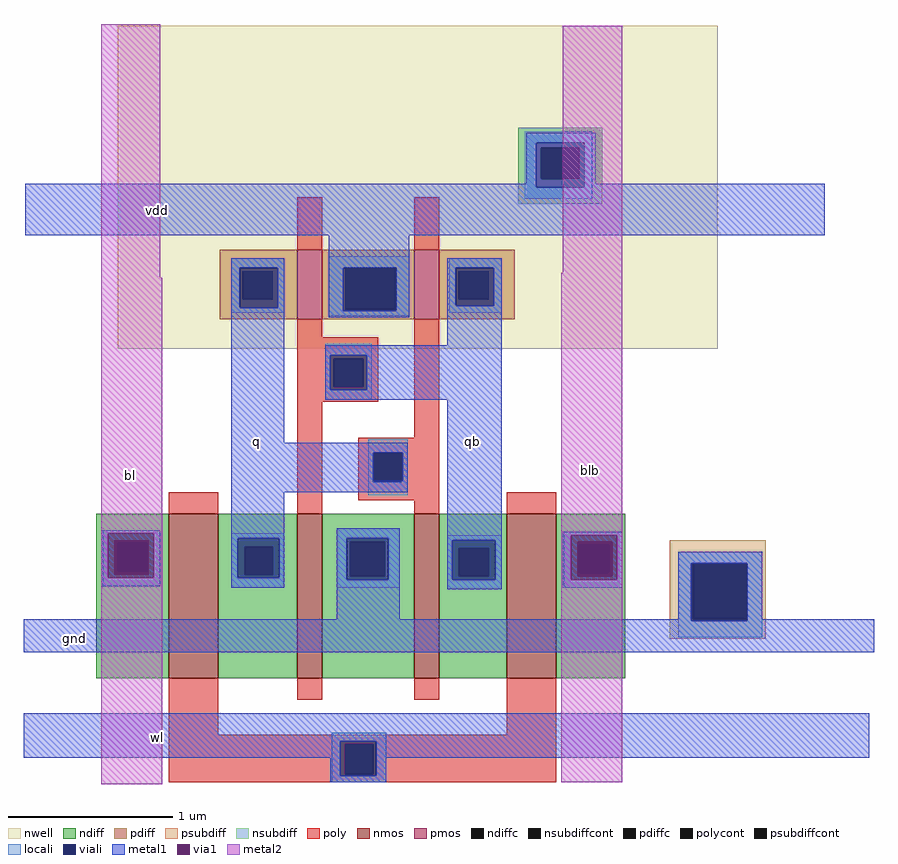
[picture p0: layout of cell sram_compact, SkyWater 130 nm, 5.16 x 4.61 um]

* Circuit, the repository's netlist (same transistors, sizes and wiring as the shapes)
* NGSPICE file created from sram_compact.ext - technology: sky130A

.subckt sram_compact q qb vdd gnd wl bl blb
X0 qb q vdd vdd sky130_fd_pr__pfet_01v8 ad=0.1932 pd=1.76 as=0.1176 ps=0.98 w=0.42 l=0.15
X1 vdd qb q vdd sky130_fd_pr__pfet_01v8 ad=0.1176 pd=0.98 as=0.1974 ps=1.78 w=0.42 l=0.15
X2 q wl bl gnd sky130_fd_pr__nfet_01v8 ad=0.24 pd=1.48 as=0.44 ps=2.88 w=1 l=0.3
X3 qb q gnd gnd sky130_fd_pr__nfet_01v8 ad=0.205 pd=1.41 as=0.28 ps=1.56 w=1 l=0.15
X4 gnd qb q gnd sky130_fd_pr__nfet_01v8 ad=0.28 pd=1.56 as=0.24 ps=1.48 w=1 l=0.15
X5 blb wl qb gnd sky130_fd_pr__nfet_01v8 ad=0.42 pd=2.84 as=0.205 ps=1.41 w=1 l=0.3
.ends

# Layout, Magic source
magic
tech sky130A
<< nwell >>
rect -79 201 285 397
<< nmos >>
rect -48 1 -18 101
rect 30 1 45 101
rect 101 1 116 101
rect 157 1 187 101
<< pmos >>
rect 30 219 45 261
rect 101 219 116 261
<< ndiff >>
rect -92 83 -48 101
rect -92 66 -79 83
rect -61 66 -48 83
rect -92 1 -48 66
rect -18 81 30 101
rect -18 64 -2 81
rect 15 64 30 81
rect -18 1 30 64
rect 45 84 101 101
rect 45 63 62 84
rect 83 63 101 84
rect 45 1 101 63
rect 116 80 157 101
rect 116 63 128 80
rect 146 63 157 80
rect 116 1 157 63
rect 187 82 229 101
rect 187 65 201 82
rect 219 65 229 82
rect 187 1 229 65
<< pdiff >>
rect -17 248 30 261
rect -17 231 -3 248
rect 15 231 30 248
rect -17 219 30 231
rect 45 250 101 261
rect 45 225 59 250
rect 89 225 101 250
rect 45 219 101 225
rect 116 248 162 261
rect 116 231 128 248
rect 146 231 162 248
rect 116 219 162 231
<< ndiffc >>
rect -79 66 -61 83
rect -2 64 15 81
rect 62 63 83 84
rect 128 63 146 80
rect 201 65 219 82
<< pdiffc >>
rect -3 231 15 248
rect 59 225 89 250
rect 128 231 146 248
<< psubdiff >>
rect 256 71 314 85
rect 256 37 270 71
rect 303 37 314 71
rect 256 25 314 37
<< nsubdiff >>
rect 164 323 215 335
rect 164 304 178 323
rect 201 304 215 323
rect 164 289 215 304
<< psubdiffcont >>
rect 270 37 303 71
<< nsubdiffcont >>
rect 178 304 201 323
<< poly >>
rect 30 261 45 293
rect 101 261 116 293
rect 30 208 45 219
rect 30 195 79 208
rect 30 178 52 195
rect 70 178 79 195
rect 30 169 79 178
rect -48 101 -18 114
rect 30 101 45 169
rect 101 147 116 219
rect 67 138 116 147
rect 67 120 76 138
rect 94 121 116 138
rect 93 120 116 121
rect 67 109 116 120
rect 101 101 116 109
rect 157 101 187 114
rect -48 -33 -18 1
rect 30 -12 45 1
rect 101 -12 116 1
rect 157 -33 187 1
rect -48 -39 187 -33
rect -48 -57 59 -39
rect 76 -57 187 -39
rect -48 -62 187 -57
<< polycont >>
rect 52 178 70 195
rect 76 121 94 138
rect 76 120 93 121
rect 59 -57 76 -39
<< locali >>
rect 168 326 209 333
rect 168 299 175 326
rect 204 299 209 326
rect 168 292 209 299
rect -10 250 22 256
rect -10 226 -5 250
rect 18 226 22 250
rect -10 223 22 226
rect 49 250 98 257
rect 49 224 58 250
rect 90 224 98 250
rect 49 221 98 224
rect 122 250 154 256
rect 122 227 126 250
rect 149 227 154 250
rect 122 223 154 227
rect 47 197 75 204
rect 47 176 50 197
rect 72 176 75 197
rect 47 170 75 176
rect 73 138 97 146
rect 73 120 76 138
rect 94 121 97 138
rect 93 120 97 121
rect 73 112 97 120
rect -88 85 -53 91
rect -88 64 -81 85
rect -60 64 -53 85
rect -88 57 -53 64
rect -10 86 22 89
rect -10 62 -6 86
rect 19 62 22 86
rect -10 56 22 62
rect 54 86 92 92
rect 54 61 60 86
rect 85 61 92 86
rect 54 56 92 61
rect 121 85 154 88
rect 121 61 124 85
rect 150 61 154 85
rect 121 55 154 61
rect 192 84 227 90
rect 192 63 200 84
rect 221 63 227 84
rect 192 56 227 63
rect 261 71 312 78
rect 261 36 269 71
rect 303 36 312 71
rect 261 26 312 36
rect 51 -37 84 -32
rect 51 -58 56 -37
rect 78 -58 84 -37
rect 51 -62 84 -58
<< viali >>
rect 175 323 204 326
rect 175 304 178 323
rect 178 304 201 323
rect 201 304 204 323
rect 175 299 204 304
rect -5 248 18 250
rect -5 231 -3 248
rect -3 231 15 248
rect 15 231 18 248
rect -5 226 18 231
rect 58 225 59 250
rect 59 225 89 250
rect 89 225 90 250
rect 58 224 90 225
rect 126 248 149 250
rect 126 231 128 248
rect 128 231 146 248
rect 146 231 149 248
rect 126 227 149 231
rect 50 195 72 197
rect 50 178 52 195
rect 52 178 70 195
rect 70 178 72 195
rect 50 176 72 178
rect 76 121 94 138
rect -81 83 -60 85
rect -81 66 -79 83
rect -79 66 -61 83
rect -61 66 -60 83
rect -81 64 -60 66
rect -6 81 19 86
rect -6 64 -2 81
rect -2 64 15 81
rect 15 64 19 81
rect -6 62 19 64
rect 60 84 85 86
rect 60 63 62 84
rect 62 63 83 84
rect 83 63 85 84
rect 60 61 85 63
rect 124 80 150 85
rect 124 63 128 80
rect 128 63 146 80
rect 146 63 150 80
rect 124 61 150 63
rect 200 82 221 84
rect 200 65 201 82
rect 201 65 219 82
rect 219 65 221 82
rect 200 63 221 65
rect 269 37 270 71
rect 270 37 303 71
rect 269 36 303 37
rect 56 -39 78 -37
rect 56 -57 59 -39
rect 59 -57 76 -39
rect 76 -57 78 -39
rect 56 -58 78 -57
<< metal1 >>
rect 169 326 211 332
rect 169 301 175 326
rect -135 299 175 301
rect 204 301 211 326
rect 204 299 350 301
rect -135 270 350 299
rect -10 250 22 256
rect -10 226 -5 250
rect 18 226 22 250
rect -10 144 22 226
rect 49 250 98 270
rect 49 224 58 250
rect 90 224 98 250
rect 49 220 98 224
rect 121 250 154 256
rect 121 227 126 250
rect 149 227 154 250
rect 121 203 154 227
rect 47 197 154 203
rect 47 176 50 197
rect 72 176 154 197
rect 47 170 154 176
rect -10 138 97 144
rect -10 121 76 138
rect 94 121 97 138
rect -10 114 97 121
rect -89 89 -53 91
rect -89 62 -85 89
rect -57 62 -53 89
rect -89 57 -53 62
rect -10 86 22 114
rect -10 62 -6 86
rect 19 62 22 86
rect -10 56 22 62
rect 54 86 92 92
rect 54 61 60 86
rect 85 61 92 86
rect 54 37 92 61
rect 121 85 154 170
rect 121 61 124 85
rect 150 61 154 85
rect 121 55 154 61
rect 191 88 227 90
rect 191 61 196 88
rect 224 61 227 88
rect 191 56 227 61
rect 261 71 312 78
rect 261 37 269 71
rect -136 36 269 37
rect 303 37 312 71
rect 303 36 380 37
rect -136 17 380 36
rect -136 -37 377 -20
rect -136 -47 56 -37
rect 50 -58 56 -47
rect 78 -47 377 -37
rect 78 -58 84 -47
rect 50 -62 84 -58
<< via1 >>
rect -85 85 -57 89
rect -85 64 -81 85
rect -81 64 -60 85
rect -60 64 -57 85
rect -85 62 -57 64
rect 196 84 224 88
rect 196 63 200 84
rect 200 63 221 84
rect 221 63 224 84
rect 196 61 224 63
<< metal2 >>
rect -89 244 -53 398
rect 191 247 227 397
rect -89 89 -52 244
rect -89 62 -85 89
rect -57 62 -52 89
rect -89 -63 -52 62
rect 190 88 227 247
rect 190 61 196 88
rect 224 61 227 88
rect 190 -62 227 61
<< labels >>
rlabel metal1 0 140 10 150 1 q
port 1 n
rlabel metal1 131 140 141 150 1 qb
port 2 n
rlabel metal1 -60 280 -50 290 1 vdd
port 3 n
rlabel metal1 -110 20 -100 30 1 gnd
port 4 n
rlabel metal1 -60 -40 -50 -30 1 wl
port 5 n
rlabel metal2 -76 119 -66 129 1 bl
port 6 n
rlabel metal2 203 122 213 132 1 blb
port 7 n
<< end >>
